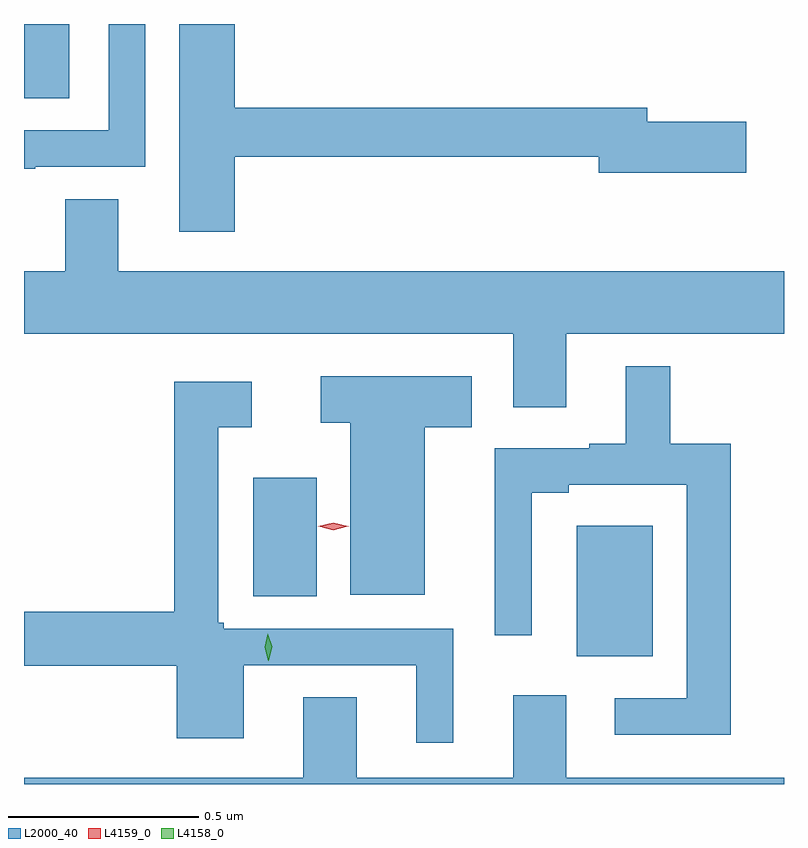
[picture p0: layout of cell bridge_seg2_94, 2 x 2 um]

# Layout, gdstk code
import gdstk
lib = gdstk.Library(unit=1e-6, precision=1e-09)
def R(c, l, rs):  # rectangles x0, y0, x1, y1
    for r in rs: c.add(gdstk.rectangle(r[:2], r[2:], *l))
def P(c, l, *ps):  # polygons
    for p in ps: c.add(gdstk.Polygon(p, *l))
L2000_40 = (2000, 40)
L4158_0 = (4158, 0)
L4159_0 = (4159, 0)

bridge_seg2_94 = lib.new_cell('bridge_seg2_94')
R(bridge_seg2_94, L2000_40, [(207.023,590.843,207.223,591.187), (206.171,591.001,206.338,591.313), (205.568,592.312,205.687,592.507)])
P(bridge_seg2_94, L2000_40, [(205.597,592.131),(205.887,592.131),(205.887,592.507),(205.791,592.507),(205.791,592.227),(205.568,592.227),(205.568,592.126),(205.597,592.126)],
  [(206.123,592.158),(207.08,592.158),(207.08,592.115),(207.469,592.115),(207.469,592.25),(207.208,592.25),(207.208,592.286),(206.123,592.286),(206.123,592.507),(205.976,592.507),(205.976,591.96),(206.123,591.96)],
  [(206.995,591.692),(207.568,591.692),(207.568,591.856),(205.816,591.856),(205.816,592.046),(205.676,592.046),(205.676,591.856),(205.568,591.856),(205.568,591.692),(206.855,591.692),(206.855,591.498),(206.995,591.498)],
  [(207.428,591.403),(207.269,591.403),(207.269,591.607),(207.152,591.607),(207.152,591.403),(207.056,591.403),(207.056,591.39),(206.807,591.39),(206.807,590.898),(206.904,590.898),(206.904,591.274),(207.001,591.274),(207.001,591.294),(207.312,591.294),(207.312,590.733),(207.123,590.733),(207.123,590.637),(207.428,590.637)],
  [(206.623,591.446),(206.746,591.446),(206.746,591.58),(206.349,591.58),(206.349,591.458),(206.426,591.458),(206.426,591.005),(206.623,591.005)],
  [(206.698,590.916),(206.094,590.916),(206.094,590.931),(206.079,590.931),(206.079,591.446),(206.167,591.446),(206.167,591.565),(205.963,591.565),(205.963,590.96),(205.568,590.96),(205.568,590.818),(205.97,590.818),(205.97,590.627),(206.146,590.627),(206.146,590.82),(206.6,590.82),(206.6,590.616),(206.698,590.616)],
  [(207.568,590.524),(206.995,590.524),(206.995,590.74),(206.855,590.74),(206.855,590.524),(206.443,590.524),(206.443,590.735),(206.303,590.735),(206.303,590.524),(205.568,590.524),(205.568,590.507),(207.568,590.507)])
P(bridge_seg2_94, L4158_0, [(206.211,590.831),(206.211,590.832),(206.201,590.867),(206.21,590.903),(206.21,590.903),(206.21,590.903),(206.221,590.868),(206.212,590.832)])
P(bridge_seg2_94, L4159_0, [(206.382,591.175),(206.342,591.185),(206.342,591.185),(206.342,591.185),(206.382,591.195),(206.421,591.185),(206.422,591.185),(206.421,591.185)])

lib.write_gds('bridge_seg2_94.gds')
